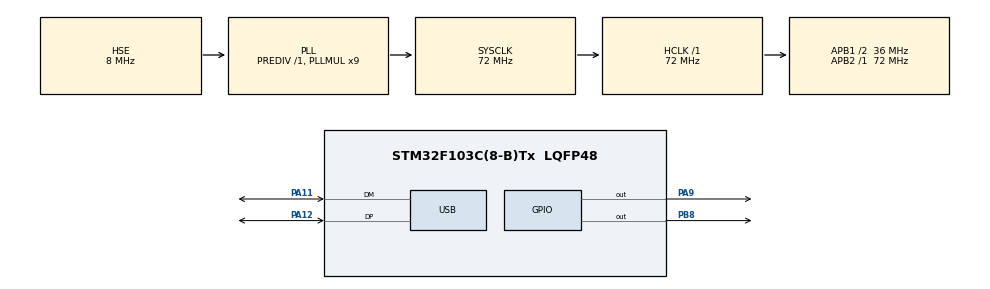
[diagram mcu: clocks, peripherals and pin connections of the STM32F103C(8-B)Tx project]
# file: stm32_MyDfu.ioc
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Mcu.Family=STM32F1
Mcu.Name=STM32F103C(8-B)Tx
Mcu.Package=LQFP48
NVIC.PriorityGroup=NVIC_PRIORITYGROUP_4
NVIC.USB_HP_CAN1_TX_IRQn=true\:0\:0\:false\:false\:true
NVIC.USB_LP_CAN1_RX0_IRQn=true\:0\:0\:false\:false\:true
PA11.Mode=Device
PA11.Signal=USB_DM
PA12.Mode=Device
PA12.Signal=USB_DP
PA13.Mode=Serial_Wire
PA13.Signal=SYS_JTMS-SWDIO
PA14.Mode=Serial_Wire
PA14.Signal=SYS_JTCK-SWCLK
PA9.Signal=GPIO_Output
PB8.Signal=GPIO_Output
PD0-OSC_IN.Mode=HSE-External-Oscillator
PD0-OSC_IN.Signal=RCC_OSC_IN
PD1-OSC_OUT.Mode=HSE-External-Oscillator
PD1-OSC_OUT.Signal=RCC_OSC_OUT
ProjectManager.HeapSize=0x200
ProjectManager.StackSize=0x400
ProjectManager.TargetToolchain=EWARM
RCC.AHBFreq_Value=72000000
RCC.APB1CLKDivider=RCC_HCLK_DIV2
RCC.APB1Freq_Value=36000000
RCC.APB1TimFreq_Value=72000000
RCC.APB2Freq_Value=72000000
RCC.APB2TimFreq_Value=72000000
RCC.HCLKFreq_Value=72000000
RCC.HSIState=RCC_HSI_ON
RCC.PLLMUL=RCC_PLL_MUL9
RCC.SYSCLKFreq_VALUE=72000000
RCC.SYSCLKSource=RCC_SYSCLKSOURCE_PLLCLK
RCC.USBFreq_Value=48000000
RCC.USBPrescaler=RCC_USBCLKSOURCE_PLL_DIV1_5
USB.low_power_enable=DISABLE
USB_DEVICE.MANUFACTURER_STRING=denruss
USB_DEVICE.USBD_HandleTypeDef=hUsbDeviceFS
USB_DEVICE.VID=0x483
USB_DEVICE.VirtualMode=Dfu
USB_DEVICE.VirtualModeFS=Dfu_FS
VP_IWDG_VS_IWDG.Mode=IWDG_Activate
VP_USB_DEVICE_VS_USB_DEVICE_DFU_FS.Mode=DFU_FS
board=stm32_MyDfu

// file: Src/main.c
/**
  ******************************************************************************
  * File Name          : main.c
  * Description        : Main program body
  ******************************************************************************
  *
  * COPYRIGHT(c) 2016 STMicroelectronics
  *
  * Redistribution and use in source and binary forms, with or without modification,
  * are permitted provided that the following conditions are met:
  *   1. Redistributions of source code must retain the above copyright notice,
  *      this list of conditions and the following disclaimer.
  *   2. Redistributions in binary form must reproduce the above copyright notice,
  *      this list of conditions and the following disclaimer in the documentation
  *      and/or other materials provided with the distribution.
  *   3. Neither the name of STMicroelectronics nor the names of its contributors
  *      may be used to endorse or promote products derived from this software
  *      without specific prior written permission.
  *
  * THIS SOFTWARE IS PROVIDED BY THE COPYRIGHT HOLDERS AND CONTRIBUTORS "AS IS"
  * AND ANY EXPRESS OR IMPLIED WARRANTIES, INCLUDING, BUT NOT LIMITED TO, THE
  * IMPLIED WARRANTIES OF MERCHANTABILITY AND FITNESS FOR A PARTICULAR PURPOSE ARE
  * DISCLAIMED. IN NO EVENT SHALL THE COPYRIGHT HOLDER OR CONTRIBUTORS BE LIABLE
  * FOR ANY DIRECT, INDIRECT, INCIDENTAL, SPECIAL, EXEMPLARY, OR CONSEQUENTIAL
  * DAMAGES (INCLUDING, BUT NOT LIMITED TO, PROCUREMENT OF SUBSTITUTE GOODS OR
  * SERVICES; LOSS OF USE, DATA, OR PROFITS; OR BUSINESS INTERRUPTION) HOWEVER
  * CAUSED AND ON ANY THEORY OF LIABILITY, WHETHER IN CONTRACT, STRICT LIABILITY,
  * OR TORT (INCLUDING NEGLIGENCE OR OTHERWISE) ARISING IN ANY WAY OUT OF THE USE
  * OF THIS SOFTWARE, EVEN IF ADVISED OF THE POSSIBILITY OF SUCH DAMAGE.
  *
  ******************************************************************************
  */
#include "stm32f1xx_hal.h"
#include "usb_device.h"

IWDG_HandleTypeDef hiwdg;

/* USER CODE BEGIN PV */
/* Private variables ---------------------------------------------------------*/

/* USER CODE END PV */

void SystemClock_Config(void);
void Error_Handler(void);
static void MX_GPIO_Init(void);
void USB_Reconnect(void);
void JumpToApplication(uint32_t addr);
void MX_CRC_Init(void);
void RTC_Config(void);

/* USER CODE BEGIN PFP */
/* Private function prototypes -----------------------------------------------*/

/* USER CODE END PFP */

/* USER CODE BEGIN 0 */

uint32_t AddressMyApplicationBegin  = 0x08006000;
uint32_t AddressMyApplicationEnd = 0x0800FBFC;
uint32_t CrcAddress = 0x0800FBFC;

uint32_t status;

CRC_HandleTypeDef CrcHandle;
RTC_HandleTypeDef RtcHandle;

/* USER CODE END 0 */

int main(void)
{

  /* USER CODE BEGIN 1 */

  uint32_t crc = 0;

  uint32_t read_crc = (*(__IO uint32_t*)(CrcAddress));                               // читаем CRC

  /* USER CODE END 1 */

  /* MCU Configuration----------------------------------------------------------*/

  /* Reset of all peripherals, Initializes the Flash interface and the Systick. */
  HAL_Init();

  /* Configure the system clock */
  SystemClock_Config();

  /* Initialize all configured peripherals */
  MX_GPIO_Init();

  MX_CRC_Init();

  RTC_Config();

  crc = HAL_CRC_Accumulate(&CrcHandle, (uint32_t *)AddressMyApplicationBegin, (AddressMyApplicationEnd - AddressMyApplicationBegin) /4  );

  //HAL_RTCEx_BKUPWrite(&RtcHandle, RTC_BKP_DR1, 34);
  status = HAL_RTCEx_BKUPRead(&RtcHandle, RTC_BKP_DR1);

  if (crc == read_crc && status == 0) JumpToApplication(AddressMyApplicationBegin);  // если CRC сошлась, то запускаем наше приложение

  USB_Reconnect();

  MX_USB_DEVICE_Init();

  /* Infinite loop */
  while (1)
  {

  }

}

/** System Clock Configuration
*/
void SystemClock_Config(void)
{

  RCC_OscInitTypeDef RCC_OscInitStruct;
  RCC_ClkInitTypeDef RCC_ClkInitStruct;
  RCC_PeriphCLKInitTypeDef PeriphClkInit;

  RCC_OscInitStruct.OscillatorType = RCC_OSCILLATORTYPE_LSI|RCC_OSCILLATORTYPE_HSE;
  RCC_OscInitStruct.HSEState = RCC_HSE_ON;
  RCC_OscInitStruct.HSEPredivValue = RCC_HSE_PREDIV_DIV1;
  RCC_OscInitStruct.LSIState = RCC_LSI_ON;
  RCC_OscInitStruct.PLL.PLLState = RCC_PLL_ON;
  RCC_OscInitStruct.PLL.PLLSource = RCC_PLLSOURCE_HSE;
  RCC_OscInitStruct.PLL.PLLMUL = RCC_PLL_MUL9;
  if (HAL_RCC_OscConfig(&RCC_OscInitStruct) != HAL_OK)
  {
    Error_Handler();
  }

  RCC_ClkInitStruct.ClockType = RCC_CLOCKTYPE_HCLK|RCC_CLOCKTYPE_SYSCLK
                              |RCC_CLOCKTYPE_PCLK1|RCC_CLOCKTYPE_PCLK2;
  RCC_ClkInitStruct.SYSCLKSource = RCC_SYSCLKSOURCE_PLLCLK;
  RCC_ClkInitStruct.AHBCLKDivider = RCC_SYSCLK_DIV1;
  RCC_ClkInitStruct.APB1CLKDivider = RCC_HCLK_DIV2;
  RCC_ClkInitStruct.APB2CLKDivider = RCC_HCLK_DIV1;
  if (HAL_RCC_ClockConfig(&RCC_ClkInitStruct, FLASH_LATENCY_2) != HAL_OK)
  {
    Error_Handler();
  }

  PeriphClkInit.PeriphClockSelection = RCC_PERIPHCLK_USB;
  PeriphClkInit.UsbClockSelection = RCC_USBCLKSOURCE_PLL_DIV1_5;
  if (HAL_RCCEx_PeriphCLKConfig(&PeriphClkInit) != HAL_OK)
  {
    Error_Handler();
  }

  HAL_SYSTICK_Config(HAL_RCC_GetHCLKFreq()/1000);

  HAL_SYSTICK_CLKSourceConfig(SYSTICK_CLKSOURCE_HCLK);

  /* SysTick_IRQn interrupt configuration */
  HAL_NVIC_SetPriority(SysTick_IRQn, 0, 0);
}

/** Configure pins as
        * Analog
        * Input
        * Output
        * EVENT_OUT
        * EXTI
        * Free pins are configured automatically as Analog (this feature is enabled through
        * the Code Generation settings)
*/
static void MX_GPIO_Init(void)
{

  GPIO_InitTypeDef GPIO_InitStruct;

  /* GPIO Ports Clock Enable */
  __HAL_RCC_GPIOC_CLK_ENABLE();
  __HAL_RCC_GPIOD_CLK_ENABLE();
  __HAL_RCC_GPIOA_CLK_ENABLE();
  __HAL_RCC_GPIOB_CLK_ENABLE();

  /*Configure GPIO pins : PC13 PC14 PC15 */
  GPIO_InitStruct.Pin = GPIO_PIN_13|GPIO_PIN_14|GPIO_PIN_15;
  GPIO_InitStruct.Mode = GPIO_MODE_ANALOG;
  HAL_GPIO_Init(GPIOC, &GPIO_InitStruct);

  /*Configure GPIO pins : PA0 PA1 PA2 PA3
                           PA4 PA5 PA6 PA7
                           PA8 PA10 PA15 */
  GPIO_InitStruct.Pin = GPIO_PIN_0|GPIO_PIN_1|GPIO_PIN_2|GPIO_PIN_3
                          |GPIO_PIN_4|GPIO_PIN_5|GPIO_PIN_6|GPIO_PIN_7
                          |GPIO_PIN_8|GPIO_PIN_10|GPIO_PIN_15;
  GPIO_InitStruct.Mode = GPIO_MODE_ANALOG;
  HAL_GPIO_Init(GPIOA, &GPIO_InitStruct);

  /*Configure GPIO pins : PB0 PB1 PB2 PB10
                           PB11 PB12 PB13 PB14
                           PB15 PB3 PB4 PB5
                           PB6 PB7 PB9 */
  GPIO_InitStruct.Pin = GPIO_PIN_0|GPIO_PIN_1|GPIO_PIN_2|GPIO_PIN_10
                          |GPIO_PIN_11|GPIO_PIN_12|GPIO_PIN_13|GPIO_PIN_14
                          |GPIO_PIN_15|GPIO_PIN_3|GPIO_PIN_4|GPIO_PIN_5
                          |GPIO_PIN_6|GPIO_PIN_7|GPIO_PIN_9;
  GPIO_InitStruct.Mode = GPIO_MODE_ANALOG;
  HAL_GPIO_Init(GPIOB, &GPIO_InitStruct);

  /*Configure GPIO pin : PA9 */
  GPIO_InitStruct.Pin = GPIO_PIN_9;
  GPIO_InitStruct.Mode = GPIO_MODE_OUTPUT_PP;
  GPIO_InitStruct.Speed = GPIO_SPEED_FREQ_LOW;
  HAL_GPIO_Init(GPIOA, &GPIO_InitStruct);

  /*Configure GPIO pin : PB8 */
  GPIO_InitStruct.Pin = GPIO_PIN_8;
  GPIO_InitStruct.Mode = GPIO_MODE_OUTPUT_PP;
  GPIO_InitStruct.Speed = GPIO_SPEED_FREQ_LOW;
  HAL_GPIO_Init(GPIOB, &GPIO_InitStruct);

  /*Configure GPIO pin Output Level */
  HAL_GPIO_WritePin(GPIOA, GPIO_PIN_9, GPIO_PIN_RESET);

  /*Configure GPIO pin Output Level */
  HAL_GPIO_WritePin(GPIOB, GPIO_PIN_8, GPIO_PIN_RESET);

}

/* USER CODE BEGIN 4 */
void USB_Reconnect(void)
{
   HAL_GPIO_WritePin(GPIOB, GPIO_PIN_8, GPIO_PIN_RESET);

   HAL_Delay(100);

   HAL_GPIO_WritePin(GPIOB, GPIO_PIN_8, GPIO_PIN_SET);

   HAL_Delay(100);
}

void JumpToApplication(uint32_t addr)
{
  typedef  void (*pFunction)(void);
  pFunction Jump_To_Application;
  uint32_t JumpAddress;

  // Disable all irq
  //__disable_irq();

  JumpAddress = *(uint32_t*) (addr + 4);
  Jump_To_Application = (pFunction) JumpAddress;

  /* Initialize user application's Stack Pointer */
  __set_MSP(*(__IO uint32_t*) addr);

  Jump_To_Application();

}

void RTC_Config(void)
{
  /*##-1- Configure the RTC peripheral #######################################*/
  /* Configure RTC prescaler and RTC data registers */
  /* RTC configured as follow:
      - Asynch Prediv  = Calculated automatically by HAL (based on LSI at 40kHz) */
  RtcHandle.Instance = RTC;
  RtcHandle.Init.AsynchPrediv = RTC_AUTO_1_SECOND;

  HAL_RTC_Init(&RtcHandle);

  __HAL_RCC_PWR_CLK_ENABLE();
  __HAL_RCC_BKP_CLK_ENABLE();
  HAL_PWR_EnableBkUpAccess();

}

void MX_CRC_Init(void)
{
  CrcHandle.Instance = CRC;

  if (HAL_CRC_Init(&CrcHandle) != HAL_OK)
  {
    /* Initialization Error */
    Error_Handler();
  }
}
/* USER CODE END 4 */

void Error_Handler(void)
{
  while(1)
  {
  }
}

/************************ (C) COPYRIGHT STMicroelectronics *****END OF FILE****/
